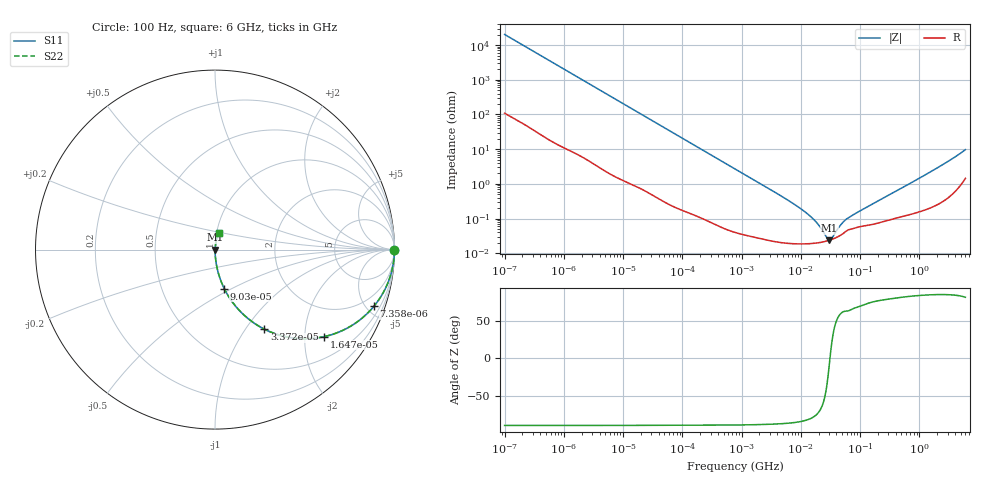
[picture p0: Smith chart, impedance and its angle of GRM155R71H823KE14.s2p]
!Murata Part Number: GRM155R71H823KE14
!These Parameters are Measured in Series Mode Connection
!Data Generated on Mar 30, 2021
!  o--ll--o
!Port1  Port2
!  o------o
!Operation Temp=25[degC], DC Bias Voltage=0[V]
!Freq. Start=100[Hz] Stop=6[GHz] 401[Steps]
# Hz S RI R 50
!Freq.(Hz) S11(Real) S11(Imag) S21(Real) S21(Imag) S12(Real) S12(Imag) S22(Real) S22(Imag)
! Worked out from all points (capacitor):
!   401 points, 100 Hz to 6 GHz, reference 50 ohm
!   read as one part in series: C = 78.4 nF near 109 Hz
!   lowest |Z| = 23.8 mohm at 30.45 MHz (marker M1)
!   series resonance near 31.07 MHz, so ESL is about 330 pH
!   S11 on the Smith chart (normalised r, x): 100 Hz: open; 7.358 kHz: 1.03, -5.59; 16.47 kHz: 1.02, -2.50; 33.72 kHz: 1.01, -1.23; 90.3 kHz: 1.00, -0.46; 6 GHz: 1.03, +0.19
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100  0.9999 -0.00494  5.1e-05 0.00494  5.1e-05 0.00494  0.9999 -0.00494
627  0.9989 -0.0307  0.0011 0.0307  0.0011 0.0307  0.9989 -0.0307
2008  0.9899 -0.0971  0.0101 0.0971  0.0101 0.0971  0.9899 -0.0971
4299  0.9569 -0.2002  0.0431 0.2002  0.0431 0.2002  0.9569 -0.2002
7358  0.8851 -0.3161  0.1149 0.3161  0.1149 0.3161  0.8851 -0.3161
16473  0.6097 -0.4844  0.3903 0.4844  0.3903 0.4844  0.6097 -0.4844
33721  0.275 -0.4429  0.725 0.4429  0.725 0.4429  0.275 -0.4429
40335  0.2103 -0.404  0.7897 0.404  0.7897 0.404  0.2103 -0.404
90302  0.0518 -0.2177  0.9482 0.2177  0.9482 0.2177  0.0518 -0.2177
231233  0.00901 -0.0894  0.991 0.0894  0.991 0.0894  0.00901 -0.0894
774597  0.00113 -0.0271  0.9989 0.0271  0.9989 0.0271  0.00113 -0.0271
6644369  0.000199 -0.00305  0.9998 0.00305  0.9998 0.00305  0.000199 -0.00305
1.555665e7  0.000192 -0.00102  0.9998 0.00102  0.9998 0.00102  0.000192 -0.00102
2.035112e7  0.000202 -0.000594  0.9998 0.000594  0.9998 0.000594  0.000202 -0.000594
2.784235e7  0.000226 -0.000149  0.9998 0.000149  0.9998 0.000149  0.000226 -0.000149
3.045065e7  0.000237 -2.69e-05  0.9998 2.69e-05  0.9998 2.69e-05  0.000237 -2.69e-05
3.330331e7  0.000249 9.39e-05  0.9998 -9.39e-05  0.9998 -9.39e-05  0.000249 9.39e-05
4.556224e7  0.00032 0.000519  0.9997 -0.000519  0.9997 -0.000519  0.00032 0.000519
5.960426e7  0.000445 0.000871  0.9996 -0.000871  0.9996 -0.000871  0.000445 0.000871
3.124326e8  0.000935 0.00477  0.9991 -0.00477  0.9991 -0.00477  0.000935 0.00477
1.791126e9  0.00291 0.0255  0.9971 -0.0255  0.9971 -0.0255  0.00291 0.0255
6e9  0.0229 0.0922  0.9771 -0.0922  0.9771 -0.0922  0.0229 0.0922
